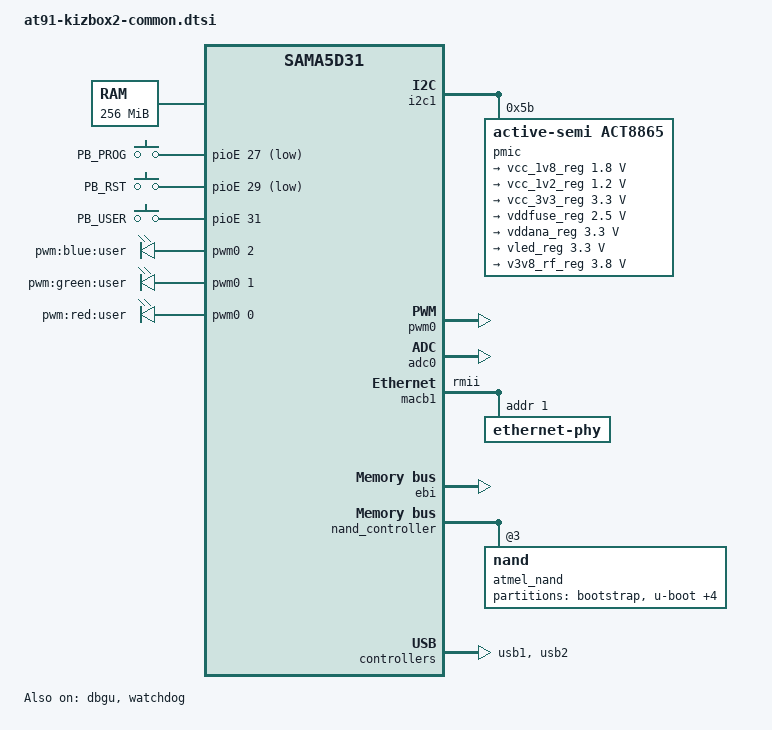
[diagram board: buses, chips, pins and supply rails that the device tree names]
// SPDX-License-Identifier: GPL-2.0
/*
 * at91-kizbox2_common.dtsi - Device Tree Include file for
 * Overkiz Kizbox 2 family SoC
 *
 * Copyright (C) 2014-2018 Overkiz SAS
 *
 * Authors: Antoine Aubert <a.aubert@overkiz.com>
 *          Gaël Portay <g.portay@overkiz.com>
 *          Kévin Raymond <k.raymond@overkiz.com>
 */
#include "sama5d31.dtsi"

/ {
	chosen {
		stdout-path = &dbgu;
	};

	memory {
		reg = <0x20000000 0x10000000>;
	};

	clocks {
		slow_xtal {
			clock-frequency = <32768>;
		};

		main_xtal {
			clock-frequency = <12000000>;
		};
	};

	gpio_keys {
		compatible = "gpio-keys";
		#address-cells = <1>;
		#size-cells = <0>;

		prog {
			label = "PB_PROG";
			gpios = <&pioE 27 GPIO_ACTIVE_LOW>;
			linux,code = <0x102>;
			wakeup-source;
		};

		reset {
			label = "PB_RST";
			gpios = <&pioE 29 GPIO_ACTIVE_LOW>;
			linux,code = <0x100>;
			wakeup-source;
		};

		user {
			label = "PB_USER";
			gpios = <&pioE 31 GPIO_ACTIVE_HIGH>;
			linux,code = <0x101>;
			wakeup-source;
		};
	};

	pwm_leds {
		compatible = "pwm-leds";

		blue {
			label = "pwm:blue:user";
			pwms = <&pwm0 2 10000000 0>;
			max-brightness = <255>;
			linux,default-trigger = "none";
		};

		green {
			label = "pwm:green:user";
			pwms = <&pwm0 1 10000000 0>;
			max-brightness = <255>;
			linux,default-trigger = "default-on";
		};

		red {
			label = "pwm:red:user";
			pwms = <&pwm0 0 10000000 0>;
			max-brightness = <255>;
			linux,default-trigger = "default-on";
		};
	};
};

&i2c1 {
	status = "okay";

	pmic: act8865@5b {
		compatible = "active-semi,act8865";
		reg = <0x5b>;
		status = "okay";

		regulators {
			vcc_1v8_reg: DCDC_REG1 {
				regulator-name = "VCC_1V8";
				regulator-min-microvolt = <1800000>;
				regulator-max-microvolt = <1800000>;
				regulator-always-on;
			};

			vcc_1v2_reg: DCDC_REG2 {
				regulator-name = "VCC_1V2";
				regulator-min-microvolt = <1200000>;
				regulator-max-microvolt = <1200000>;
				regulator-always-on;
			};

			vcc_3v3_reg: DCDC_REG3 {
				regulator-name = "VCC_3V3";
				regulator-min-microvolt = <3300000>;
				regulator-max-microvolt = <3300000>;
				regulator-always-on;
			};

			vddfuse_reg: LDO_REG1 {
				regulator-name = "FUSE_2V5";
				regulator-min-microvolt = <2500000>;
				regulator-max-microvolt = <2500000>;
			};

			vddana_reg: LDO_REG2 {
				regulator-name = "VDDANA";
				regulator-min-microvolt = <3300000>;
				regulator-max-microvolt = <3300000>;
				regulator-always-on;
			};

			vled_reg: LDO_REG3 {
				regulator-name = "VLED";
				regulator-min-microvolt = <3300000>;
				regulator-max-microvolt = <3300000>;
				regulator-always-on;
			};

			v3v8_rf_reg: LDO_REG4 {
				regulator-name = "V3V8_RF";
				regulator-min-microvolt = <3800000>;
				regulator-max-microvolt = <3800000>;
				regulator-always-on;
			};
		};
	};
};

&usart0 {
	atmel,use-dma-rx;
	atmel,use-dma-tx;
	status = "disabled";
};

&usart1 {
	atmel,use-dma-rx;
	atmel,use-dma-tx;
	status = "disabled";
};

&usart2 {
	atmel,use-dma-rx;
	atmel,use-dma-tx;
	status = "disabled";
};

&pwm0 {
	pinctrl-names = "default";
	pinctrl-0 = <&pinctrl_pwm0_pwmh0_1
		     &pinctrl_pwm0_pwmh1_1
		     &pinctrl_pwm0_pwmh2_0>;
	status = "okay";
};

&adc0 {
	atmel,adc-vref = <3333>;
	status = "okay";
};

&macb1 {
	phy-mode = "rmii";
	status = "okay";
	
	ethernet-phy@1 {
		reg = <0x1>;
	};
};

&dbgu {
	status = "okay";
};

&watchdog {
	status = "okay";
};

&ebi {
	pinctrl-0 = <&pinctrl_ebi_nand_addr>;
	pinctrl-names = "default";
	status = "okay";
};

&nand_controller {
	status = "okay";

	nand@3 {
		reg = <0x3 0x0 0x2>;
		atmel,rb = <0>;
		nand-bus-width = <8>;
		nand-ecc-mode = "hw";
		nand-ecc-strength = <4>;
		nand-ecc-step-size = <512>;
		nand-on-flash-bbt;
		label = "atmel_nand";

		partitions {
			compatible = "fixed-partitions";
			#address-cells = <1>;
			#size-cells = <1>;

			bootstrap@0 {
				label = "bootstrap";
				reg = <0x0 0x40000>;
			};

			uboot@40000 {
				label = "u-boot";
				reg = <0x40000 0xc0000>;
			};
			
			ubootenvred@100000 {
				label = "u-boot env redundant";
				reg = <0x100000 0x40000>;
			};
			
			ubootenv@140000 {
				label = "u-boot env";
				reg = <0x140000 0x40000>;
			};
			
			fit@180000 {
				label = "FIT image";
				reg = <0x180000 0x680000>;
			};
			
			rootfs@800000 {
				label = "rootfs";
				reg = <0x800000 0x7800000>;
			};
		};
	};
};

&usb1 {
	status = "okay";
};

&usb2 {
	status = "okay";
};

/* WMBUS (inverted with IO in the latest schematic) */
&pinctrl_usart0 {
	atmel,pins =
		<AT91_PIOD 17 AT91_PERIPH_A AT91_PINCTRL_NONE
		 AT91_PIOD 18 AT91_PERIPH_A AT91_PINCTRL_PULL_UP
		 AT91_PIOE 2 AT91_PERIPH_GPIO AT91_PINCTRL_MULTI_DRIVE>;
};

/* RTS */
&pinctrl_usart1 {
	atmel,pins =
		<AT91_PIOB 28 AT91_PERIPH_A AT91_PINCTRL_NONE
		 AT91_PIOB 29 AT91_PERIPH_A AT91_PINCTRL_PULL_UP
		 AT91_PIOE 7 AT91_PERIPH_GPIO AT91_PINCTRL_MULTI_DRIVE>;
};

/* IO (inverted with WMBUS in the latest schematic) */
&pinctrl_usart2 {
	atmel,pins =
		<AT91_PIOE 25 AT91_PERIPH_B AT91_PINCTRL_NONE
		 AT91_PIOE 26 AT91_PERIPH_B AT91_PINCTRL_PULL_UP
		 AT91_PIOE 8 AT91_PERIPH_GPIO AT91_PINCTRL_MULTI_DRIVE>;
};

&tcb0 {
    timer@0 {
            compatible = "atmel,tcb-timer";
            reg = <0x00>;
    };

    timer@1 {
            compatible = "atmel,tcb-timer";
            reg = <0x01>;
    };
};
